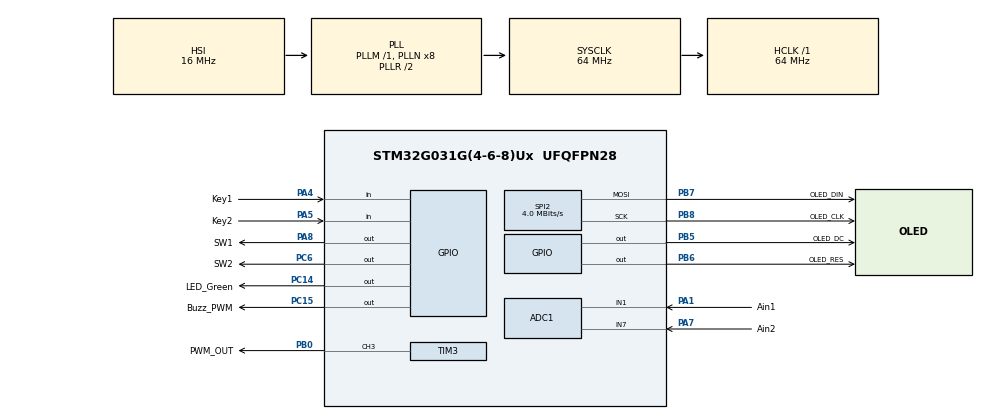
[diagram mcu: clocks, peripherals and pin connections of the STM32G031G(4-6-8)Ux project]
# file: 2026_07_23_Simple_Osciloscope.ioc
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ADC1.Channel-0\#ChannelRegularConversion=ADC_CHANNEL_1
ADC1.Channel-1\#ChannelRegularConversion=ADC_CHANNEL_7
ADC1.ContinuousConvMode=DISABLE
ADC1.DMAContinuousRequests=ENABLE
ADC1.ExternalTrigConv=ADC_EXTERNALTRIG_T1_TRGO2
ADC1.ExternalTrigConvEdge=ADC_EXTERNALTRIGCONVEDGE_RISING
ADC1.NbrOfConversion=2
ADC1.NbrOfConversionFlag=1
ADC1.Rank-0\#ChannelRegularConversion=1
ADC1.Rank-1\#ChannelRegularConversion=2
ADC1.SamplingTime-0\#ChannelRegularConversion=ADC_SAMPLINGTIME_COMMON_1
ADC1.SamplingTime-1\#ChannelRegularConversion=ADC_SAMPLINGTIME_COMMON_1
ADC1.ScanConvMode=ADC_SCAN_ENABLE
ADC1.SelectedChannel=ADC_CHANNEL_1|ADC_CHANNEL_7
ADC1.master=1
Dma.ADC1.0.Direction=DMA_PERIPH_TO_MEMORY
Dma.ADC1.0.EventEnable=DISABLE
Dma.ADC1.0.Instance=DMA1_Channel1
Dma.ADC1.0.MemDataAlignment=DMA_MDATAALIGN_HALFWORD
Dma.ADC1.0.MemInc=DMA_MINC_ENABLE
Dma.ADC1.0.Mode=DMA_NORMAL
Dma.ADC1.0.PeriphDataAlignment=DMA_PDATAALIGN_HALFWORD
Dma.ADC1.0.PeriphInc=DMA_PINC_DISABLE
Dma.ADC1.0.Polarity=HAL_DMAMUX_REQ_GEN_RISING
Dma.ADC1.0.Priority=DMA_PRIORITY_LOW
Dma.ADC1.0.RequestNumber=1
Dma.ADC1.0.SignalID=NONE
Dma.ADC1.0.SyncEnable=DISABLE
Dma.ADC1.0.SyncPolarity=HAL_DMAMUX_SYNC_NO_EVENT
Dma.ADC1.0.SyncRequestNumber=1
Dma.ADC1.0.SyncSignalID=NONE
Dma.Request0=ADC1
Mcu.Family=STM32G0
Mcu.Name=STM32G031G(4-6-8)Ux
Mcu.Package=UFQFPN28
NVIC.DMA1_Channel1_IRQn=true\:1\:0\:false\:false\:true\:true\:true\:true
NVIC.TIM2_IRQn=true\:0\:0\:false\:false\:true\:true\:true\:true
PA1.GPIO_Label=Ain1
PA1.Mode=IN1
PA1.Signal=ADC1_IN1
PA13.Mode=Serial_Wire
PA13.Signal=SYS_SWDIO
PA14-BOOT0.Mode=Serial_Wire
PA14-BOOT0.Signal=SYS_SWCLK
PA4.GPIO_Label=Key1
PA4.GPIO_PuPd=GPIO_PULLUP
PA4.Signal=GPIO_Input
PA5.GPIO_Label=Key2
PA5.GPIO_PuPd=GPIO_PULLUP
PA5.Signal=GPIO_Input
PA7.GPIO_Label=Ain2
PA7.Mode=IN7
PA7.Signal=ADC1_IN7
PA8.GPIO_Label=SW1
PA8.Signal=GPIO_Output
PB0.GPIO_Label=PWM_OUT
PB0.Signal=S_TIM3_CH3
PB5.GPIO_Label=OLED_DC
PB5.Signal=GPIO_Output
PB6.GPIO_Label=OLED_RES
PB6.Signal=GPIO_Output
PB7.GPIO_Label=OLED_DIN
PB7.Mode=TX_Only_Simplex_Unidirect_Master
PB7.Signal=SPI2_MOSI
PB7.Stacked=true
PB8.GPIO_Label=OLED_CLK
PB8.Mode=TX_Only_Simplex_Unidirect_Master
PB8.Signal=SPI2_SCK
PB8.Stacked=true
PC14-OSC32_IN\ (PC14).GPIO_Label=LED_Green
PC14-OSC32_IN\ (PC14).Signal=GPIO_Output
PC15-OSC32_OUT\ (PC15).GPIO_Label=Buzz_PWM
PC15-OSC32_OUT\ (PC15).Signal=GPIO_Output
PC6.GPIO_Label=SW2
PC6.Signal=GPIO_Output
ProjectManager.HeapSize=0x200
ProjectManager.StackSize=0x400
ProjectManager.TargetToolchain=CMake
RCC.ADCFreq_Value=64000000
RCC.AHBFreq_Value=64000000
RCC.CortexFreq_Value=64000000
RCC.EXTERNAL_CLOCK_VALUE=12288000
RCC.HCLKFreq_Value=64000000
RCC.HSE_VALUE=8000000
RCC.HSI_VALUE=16000000
RCC.LSE_VALUE=32768
RCC.SYSCLKFreq_VALUE=64000000
RCC.SYSCLKSource=RCC_SYSCLKSOURCE_PLLCLK
RCC.VCOOutputFreq_Value=128000000
SH.S_TIM3_CH3.0=TIM3_CH3,PWM Generation3 CH3
SPI2.BaudRatePrescaler=SPI_BAUDRATEPRESCALER_16
SPI2.CalculateBaudRate=4.0 MBits/s
SPI2.Direction=SPI_DIRECTION_2LINES
SPI2.Mode=SPI_MODE_MASTER
SPI2.VirtualType=VM_MASTER
TIM1.Period=319
TIM1.Prescaler=0
TIM1.TIM_MasterOutputTrigger2=TIM_TRGO2_UPDATE
TIM2.Period=199
TIM2.Prescaler=63
TIM3.Channel-PWM\ Generation3\ CH3=TIM_CHANNEL_3
TIM3.Period=99
TIM3.Prescaler=63
VP_TIM1_VS_ClockSourceINT.Mode=Internal
VP_TIM2_VS_ClockSourceINT.Mode=Internal
VP_TIM3_VS_ClockSourceINT.Mode=Internal
board=custom

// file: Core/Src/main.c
/* USER CODE BEGIN Header */
/**
  ******************************************************************************
  * @file           : main.c
  * @brief          : Main program body
  ******************************************************************************
  * @attention
  *
  * Copyright (c) 2026 STMicroelectronics.
  * All rights reserved.
  *
  * This software is licensed under terms that can be found in the LICENSE file
  * in the root directory of this software component.
  * If no LICENSE file comes with this software, it is provided AS-IS.
  *
  ******************************************************************************
  */
/* USER CODE END Header */
#include "main.h"
#include "adc.h"
#include "dma.h"
#include "spi.h"
#include "tim.h"
#include "gpio.h"

/* USER CODE BEGIN Includes */
#include "oled_sh1107.h"
#include "buzzer.h"
#include "pwm_out.h"
#include "adc_sample.h"
#include "afe.h"
#include "waveform.h"
#include "key.h"
/* USER CODE END Includes */

void SystemClock_Config(void);

int main(void)
{

  /* MCU Configuration--------------------------------------------------------*/

  /* Reset of all peripherals, Initializes the Flash interface and the Systick. */
  HAL_Init();

  /* Configure the system clock */
  SystemClock_Config();

  /* Initialize all configured peripherals */
  MX_GPIO_Init();
  MX_DMA_Init();
  MX_SPI2_Init();
  MX_ADC1_Init();
  MX_TIM3_Init();
  MX_TIM2_Init();
  MX_TIM1_Init();
  /* USER CODE BEGIN 2 */
  OLED_Init();
  OLED_Clear();
  OLED_ShowString(0, 0, "Waveform", 1, OLED_COLOR_WHITE);
  OLED_ShowString(0, 16, "K1:Rng K2:CH", 1, OLED_COLOR_WHITE);
  OLED_Refresh();

  PWM_OUT_Init();
  PWM_OUT_SetDuty(50U);

  KEY_Init();

  /* 前端默认低阻档 G=-0.1（大量程）；灵敏档用 AFE_RANGE_HI_Z */
  afe_init();
  (void)afe_set_range(AFE_CH1, AFE_RANGE_LO_Z);
  (void)afe_set_range(AFE_CH2, AFE_RANGE_LO_Z);

  if (adc_sample_calibrate() != ADC_SAMPLE_OK)
  {
    OLED_ShowString(0, 16, "ADC CAL FAIL", 1, OLED_COLOR_WHITE);
    OLED_Refresh();
    Error_Handler();
  }

  (void)adc_sample_set_rate(ADC_SAMPLE_RATE_HZ_DEFAULT);

  if (adc_sample_start() != ADC_SAMPLE_OK)
  {
    OLED_ShowString(0, 16, "ADC START FAIL", 1, OLED_COLOR_WHITE);
    OLED_Refresh();
    Error_Handler();
  }
  /* USER CODE END 2 */

  /* Infinite loop */
  while (1)
  {

    /* USER CODE BEGIN 3 */
    /* Key1：切换当前显示通道的量程；Key2：Ain1/Ain2 显示切换 */
    if (KEY_TakeClick(KEY_ID_1) != 0U)
    {
      (void)afe_toggle_range(waveform_get_channel());
      HAL_Delay(5);
      waveform_draw();
    }
    if (KEY_TakeClick(KEY_ID_2) != 0U)
    {
      if (waveform_get_channel() == AFE_CH1)
      {
        waveform_set_channel(AFE_CH2);
      }
      else
      {
        waveform_set_channel(AFE_CH1);
      }
      waveform_draw();
    }

    /* DMA 全缓冲就绪：降频刷新当前通道波形 */
    if (adc_sample_take_full_flag() != 0U)
    {
      static uint32_t s_ui_div = 0U;
      s_ui_div++;
      if ((s_ui_div % WAVEFORM_UI_DIV) == 0U)
      {
        waveform_draw();
      }
    }
  }
  /* USER CODE END 3 */
}

void SystemClock_Config(void)
{
  RCC_OscInitTypeDef RCC_OscInitStruct = {0};
  RCC_ClkInitTypeDef RCC_ClkInitStruct = {0};

  /** Configure the main internal regulator output voltage
  */
  HAL_PWREx_ControlVoltageScaling(PWR_REGULATOR_VOLTAGE_SCALE1);

  /** Initializes the RCC Oscillators according to the specified parameters
  * in the RCC_OscInitTypeDef structure.
  */
  RCC_OscInitStruct.OscillatorType = RCC_OSCILLATORTYPE_HSI;
  RCC_OscInitStruct.HSIState = RCC_HSI_ON;
  RCC_OscInitStruct.HSIDiv = RCC_HSI_DIV1;
  RCC_OscInitStruct.HSICalibrationValue = RCC_HSICALIBRATION_DEFAULT;
  RCC_OscInitStruct.PLL.PLLState = RCC_PLL_ON;
  RCC_OscInitStruct.PLL.PLLSource = RCC_PLLSOURCE_HSI;
  RCC_OscInitStruct.PLL.PLLM = RCC_PLLM_DIV1;
  RCC_OscInitStruct.PLL.PLLN = 8;
  RCC_OscInitStruct.PLL.PLLP = RCC_PLLP_DIV2;
  RCC_OscInitStruct.PLL.PLLQ = RCC_PLLQ_DIV2;
  RCC_OscInitStruct.PLL.PLLR = RCC_PLLR_DIV2;
  if (HAL_RCC_OscConfig(&RCC_OscInitStruct) != HAL_OK)
  {
    Error_Handler();
  }

  /** Initializes the CPU, AHB and APB buses clocks
  */
  RCC_ClkInitStruct.ClockType = RCC_CLOCKTYPE_HCLK|RCC_CLOCKTYPE_SYSCLK
                              |RCC_CLOCKTYPE_PCLK1;
  RCC_ClkInitStruct.SYSCLKSource = RCC_SYSCLKSOURCE_PLLCLK;
  RCC_ClkInitStruct.AHBCLKDivider = RCC_SYSCLK_DIV1;
  RCC_ClkInitStruct.APB1CLKDivider = RCC_HCLK_DIV1;

  if (HAL_RCC_ClockConfig(&RCC_ClkInitStruct, FLASH_LATENCY_2) != HAL_OK)
  {
    Error_Handler();
  }
}

void Error_Handler(void)
{
  __disable_irq();
  while (1)
  {
  }
}
